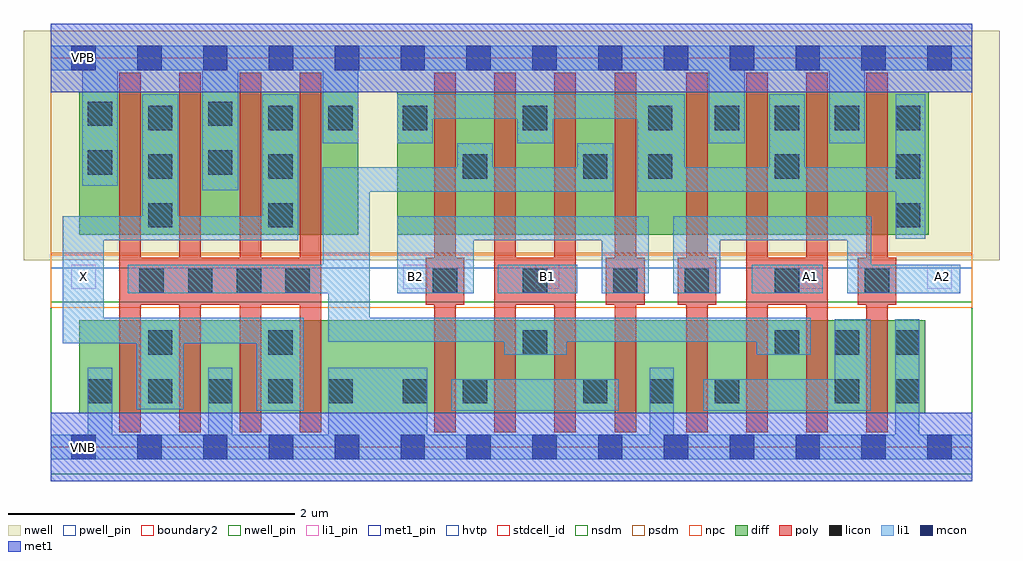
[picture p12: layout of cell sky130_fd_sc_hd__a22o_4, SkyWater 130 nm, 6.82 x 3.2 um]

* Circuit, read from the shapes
.subckt sky130_fd_sc_hd__a22o_4 A1 A2 B1 B2 VGND VNB VPB VPWR X
XM1 X n1 VGND VNB sky130_fd_pr__nfet_01v8 w=0.65 l=0.15 m=4
XM2 n2 B2 VGND VNB sky130_fd_pr__nfet_01v8 w=0.65 l=0.15 m=2
XM3 n1 B1 n2 VNB sky130_fd_pr__nfet_01v8 w=0.65 l=0.15 m=2
XM4 n3 A2 VGND VNB sky130_fd_pr__nfet_01v8 w=0.65 l=0.15 m=2
XM5 n1 A1 n3 VNB sky130_fd_pr__nfet_01v8 w=0.65 l=0.15 m=2
XM6 X n1 VPWR VPB sky130_fd_pr__pfet_01v8_hvt w=1 l=0.15 m=4
XM7 n1 B2 n4 VPB sky130_fd_pr__pfet_01v8_hvt w=1 l=0.15 m=2
XM8 n4 B1 n1 VPB sky130_fd_pr__pfet_01v8_hvt w=1 l=0.15 m=2
XM9 VPWR A2 n4 VPB sky130_fd_pr__pfet_01v8_hvt w=1 l=0.15 m=2
XM10 n4 A1 VPWR VPB sky130_fd_pr__pfet_01v8_hvt w=1 l=0.15 m=2
.ends

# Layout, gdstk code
import gdstk
lib = gdstk.Library(unit=1e-6, precision=1e-09)
def R(c, l, rs):  # rectangles x0, y0, x1, y1
    for r in rs: c.add(gdstk.rectangle(r[:2], r[2:], *l))
def A(c, l, x, y, w, h, nx, ny, dx, dy):  # array of equal rectangles
    R(c, l, [(x+i*dx, y+j*dy, x+i*dx+w, y+j*dy+h) for i in range(nx) for j in range(ny)])
def P(c, l, *ps):  # polygons
    for p in ps: c.add(gdstk.Polygon(p, *l))
nwell_pin = (64, 16)
nwell = (64, 20)
diff = (65, 20)
poly = (66, 20)
licon = (66, 44)
li1_pin = (67, 16)
li1 = (67, 20)
mcon = (67, 44)
met1_pin = (68, 16)
met1 = (68, 20)
hvtp = (78, 44)
stdcell_id = (81, 4)
nsdm = (93, 44)
psdm = (94, 20)
npc = (95, 20)
pwell_pin = (122, 16)
boundary2 = (236, 0)

sky130_fd_sc_hd__a22o_4 = lib.new_cell('sky130_fd_sc_hd__a22o_4')
R(sky130_fd_sc_hd__a22o_4, nwell_pin, [(0.145,2.635,0.315,2.805)])
R(sky130_fd_sc_hd__a22o_4, nwell, [(-0.19,1.305,6.63,2.91)])
R(sky130_fd_sc_hd__a22o_4, diff, [(0.2,0.235,6.11,0.885), (0.2,1.485,2.15,2.485), (2.42,1.485,6.135,2.485)])
P(sky130_fd_sc_hd__a22o_4, poly, [(0.48,0.105),(0.48,2.615),(0.63,2.615),(0.63,1.325),(0.9,1.325),(0.9,2.615),(1.05,2.615),(1.05,1.325),(1.32,1.325),(1.32,2.615),(1.47,2.615),(1.47,1.325),(1.74,1.325),(1.74,2.615),(1.89,2.615),(1.89,0.105),(1.74,0.105),(1.74,0.995),(1.47,0.995),(1.47,0.105),(1.32,0.105),(1.32,0.995),(1.05,0.995),(1.05,0.105),(0.9,0.105),(0.9,0.995),(0.63,0.995),(0.63,0.105)],
  [(3.94,0.105),(3.94,0.995),(3.88,0.995),(3.88,1.325),(3.94,1.325),(3.94,2.615),(4.09,2.615),(4.09,1.325),(4.15,1.325),(4.15,0.995),(4.09,0.995),(4.09,0.105)],
  [(5.7,0.105),(5.7,0.995),(5.64,0.995),(5.64,1.325),(5.7,1.325),(5.7,2.615),(5.85,2.615),(5.85,1.325),(5.91,1.325),(5.91,0.995),(5.85,0.995),(5.85,0.105)],
  [(4.86,0.105),(4.86,2.615),(5.01,2.615),(5.01,1.325),(5.28,1.325),(5.28,2.615),(5.43,2.615),(5.43,0.105),(5.28,0.105),(5.28,0.995),(5.01,0.995),(5.01,0.105)],
  [(4.44,0.105),(4.44,0.995),(4.38,0.995),(4.38,1.325),(4.44,1.325),(4.44,2.615),(4.59,2.615),(4.59,1.325),(4.65,1.325),(4.65,0.995),(4.59,0.995),(4.59,0.105)],
  [(3.1,0.105),(3.1,2.615),(3.25,2.615),(3.25,1.325),(3.52,1.325),(3.52,2.615),(3.67,2.615),(3.67,0.105),(3.52,0.105),(3.52,0.995),(3.25,0.995),(3.25,0.105)],
  [(2.68,0.105),(2.68,0.995),(2.62,0.995),(2.62,1.325),(2.68,1.325),(2.68,2.615),(2.83,2.615),(2.83,1.325),(2.89,1.325),(2.89,0.995),(2.83,0.995),(2.83,0.105)])
A(sky130_fd_sc_hd__a22o_4, licon, 0.26, 0.305, 0.17, 0.17, 5, 1, 0.42, 0)
A(sky130_fd_sc_hd__a22o_4, licon, 5.06, 0.645, 0.17, 0.17, 3, 1, 0.42, 0)
A(sky130_fd_sc_hd__a22o_4, licon, 0.62, 1.075, 0.17, 0.17, 4, 1, 0.34, 0)
A(sky130_fd_sc_hd__a22o_4, licon, 2.67, 1.075, 0.17, 0.17, 3, 1, 0.63, 0)
A(sky130_fd_sc_hd__a22o_4, licon, 4.43, 1.075, 0.17, 0.17, 3, 1, 0.63, 0)
A(sky130_fd_sc_hd__a22o_4, licon, 0.68, 1.535, 0.17, 0.17, 1, 3, 0, 0.34)
A(sky130_fd_sc_hd__a22o_4, licon, 1.52, 1.535, 0.17, 0.17, 1, 3, 0, 0.34)
A(sky130_fd_sc_hd__a22o_4, licon, 5.905, 1.535, 0.17, 0.17, 1, 3, 0, 0.34)
A(sky130_fd_sc_hd__a22o_4, licon, 4.64, 2.215, 0.17, 0.17, 3, 1, 0.42, 0)
R(sky130_fd_sc_hd__a22o_4, licon, [(2.46,0.305,2.63,0.475), (2.88,0.305,3.05,0.475), (3.72,0.305,3.89,0.475), (4.185,0.305,4.355,0.475), (4.64,0.305,4.81,0.475), (5.48,0.305,5.65,0.475), (5.9,0.305,6.07,0.475), (0.68,0.645,0.85,0.815), (1.52,0.645,1.69,0.815), (3.3,0.645,3.47,0.815), (2.88,1.875,3.05,2.045), (3.72,1.875,3.89,2.045), (4.175,1.875,4.345,2.045), (5.06,1.875,5.23,2.045), (0.26,1.905,0.43,2.075), (1.1,1.905,1.27,2.075), (1.94,2.215,2.11,2.385), (2.46,2.215,2.63,2.385), (3.3,2.215,3.47,2.385), (4.175,2.215,4.345,2.385), (0.26,2.245,0.43,2.415), (1.1,2.245,1.27,2.415)])
R(sky130_fd_sc_hd__a22o_4, li1_pin, [(0.145,1.105,0.315,1.275), (2.465,1.105,2.635,1.275), (3.385,1.105,3.555,1.275), (5.225,1.105,5.395,1.275), (6.125,1.105,6.295,1.275)])
R(sky130_fd_sc_hd__a22o_4, li1, [(2.8,0.255,3.97,0.475), (3.125,1.075,3.68,1.275), (4.9,1.075,5.395,1.275)])
P(sky130_fd_sc_hd__a22o_4, li1, [(0,-0.085),(0,0.085),(0.26,0.085),(0.26,0.555),(0.43,0.555),(0.43,0.085),(1.1,0.085),(1.1,0.555),(1.27,0.555),(1.27,0.085),(1.94,0.085),(1.94,0.555),(2.63,0.555),(2.63,0.085),(4.185,0.085),(4.185,0.555),(4.355,0.555),(4.355,0.085),(5.9,0.085),(5.9,0.895),(6.07,0.895),(6.07,0.085),(6.44,0.085),(6.44,-0.085)],
  [(1.06,1.795),(1.06,2.635),(0.47,2.635),(0.47,1.825),(0.22,1.825),(0.22,2.635),(0,2.635),(0,2.805),(6.44,2.805),(6.44,2.635),(5.69,2.635),(5.69,2.125),(5.44,2.125),(5.44,2.635),(4.85,2.635),(4.85,2.125),(4.6,2.125),(4.6,2.635),(2.15,2.635),(2.15,2.125),(1.9,2.125),(1.9,2.635),(1.31,2.635),(1.31,1.795)],
  [(1.44,0.255),(1.44,0.725),(0.93,0.725),(0.93,0.265),(0.6,0.265),(0.6,0.725),(0.085,0.725),(0.085,1.615),(0.64,1.615),(0.64,2.465),(0.89,2.465),(0.89,1.615),(1.48,1.615),(1.48,2.465),(1.73,2.465),(1.73,1.445),(0.37,1.445),(0.37,0.905),(1.77,0.905),(1.77,0.255)],
  [(2.42,1.075),(2.42,1.615),(4.18,1.615),(4.18,1.075),(3.85,1.075),(3.85,1.445),(2.955,1.445),(2.955,1.075)],
  [(3.17,0.645),(3.17,0.735),(1.94,0.735),(1.94,1.075),(0.54,1.075),(0.54,1.275),(1.9,1.275),(1.9,1.955),(2.84,1.955),(2.84,2.125),(3.09,2.125),(3.09,1.955),(3.68,1.955),(3.68,2.125),(3.93,2.125),(3.93,1.785),(2.23,1.785),(2.23,0.905),(5.31,0.905),(5.31,0.645),(4.935,0.645),(4.935,0.735),(3.605,0.735),(3.605,0.645)],
  [(4.56,0.255),(4.56,0.475),(5.48,0.475),(5.48,0.895),(5.73,0.895),(5.73,0.255)],
  [(5.905,1.455),(5.905,1.785),(4.1,1.785),(4.1,2.295),(3.51,2.295),(3.51,2.125),(3.26,2.125),(3.26,2.295),(2.67,2.295),(2.67,2.125),(2.42,2.125),(2.42,2.465),(4.43,2.465),(4.43,1.955),(5.02,1.955),(5.02,2.465),(5.27,2.465),(5.27,1.955),(5.905,1.955),(5.905,2.465),(6.11,2.465),(6.11,1.455)],
  [(4.35,1.075),(4.35,1.615),(5.735,1.615),(5.735,1.275),(6.355,1.275),(6.355,1.075),(5.565,1.075),(5.565,1.445),(4.68,1.445),(4.68,1.075)])
A(sky130_fd_sc_hd__a22o_4, mcon, 0.145, -0.085, 0.17, 0.17, 14, 2, 0.46, 2.72)
R(sky130_fd_sc_hd__a22o_4, met1_pin, [(0.145,-0.085,0.315,0.085), (0.145,2.635,0.315,2.805)])
R(sky130_fd_sc_hd__a22o_4, hvtp, [(0,1.25,6.44,2.72)])
R(sky130_fd_sc_hd__a22o_4, stdcell_id, [(0,0,6.44,2.72)])
R(sky130_fd_sc_hd__a22o_4, nsdm, [(0,-0.19,6.44,1.015)])
R(sky130_fd_sc_hd__a22o_4, psdm, [(0,1.355,6.44,2.91)])
R(sky130_fd_sc_hd__a22o_4, npc, [(0,0.975,6.44,1.345)])
R(sky130_fd_sc_hd__a22o_4, pwell_pin, [(0.145,-0.085,0.315,0.085)])
R(sky130_fd_sc_hd__a22o_4, boundary2, [(0,0,6.44,2.72)])
sky130_fd_sc_hd__a22o_4.add(gdstk.FlexPath([(0,2.72),(6.44,2.72)], 0.48, ends="flush", simple_path=True, layer=68, datatype=20))  # met1
sky130_fd_sc_hd__a22o_4.add(gdstk.FlexPath([(0,0),(6.44,0)], 0.48, ends="flush", simple_path=True, layer=68, datatype=20))  # met1
sky130_fd_sc_hd__a22o_4.add(gdstk.Label('B1', (3.47,1.19), layer=67, texttype=5))
sky130_fd_sc_hd__a22o_4.add(gdstk.Label('B2', (2.55,1.19), layer=67, texttype=5))
sky130_fd_sc_hd__a22o_4.add(gdstk.Label('X', (0.23,1.19), layer=67, texttype=5))
sky130_fd_sc_hd__a22o_4.add(gdstk.Label('A2', (6.23,1.19), layer=67, texttype=5))
sky130_fd_sc_hd__a22o_4.add(gdstk.Label('A1', (5.31,1.19), layer=67, texttype=5))
sky130_fd_sc_hd__a22o_4.add(gdstk.Label('VNB', (0.23,0), layer=64, texttype=59))
sky130_fd_sc_hd__a22o_4.add(gdstk.Label('VPB', (0.23,2.72), layer=64, texttype=5))
sky130_fd_sc_hd__a22o_4.add(gdstk.Label('VGND', (0.23,0), layer=68, texttype=5))
sky130_fd_sc_hd__a22o_4.add(gdstk.Label('VPWR', (0.23,2.72), layer=68, texttype=5))
sky130_fd_sc_hd__a22o_4.add(gdstk.Label('a22o_4', (0,0), layer=83, texttype=44))

lib.write_gds('sky130_fd_sc_hd__a22o_4.gds')
